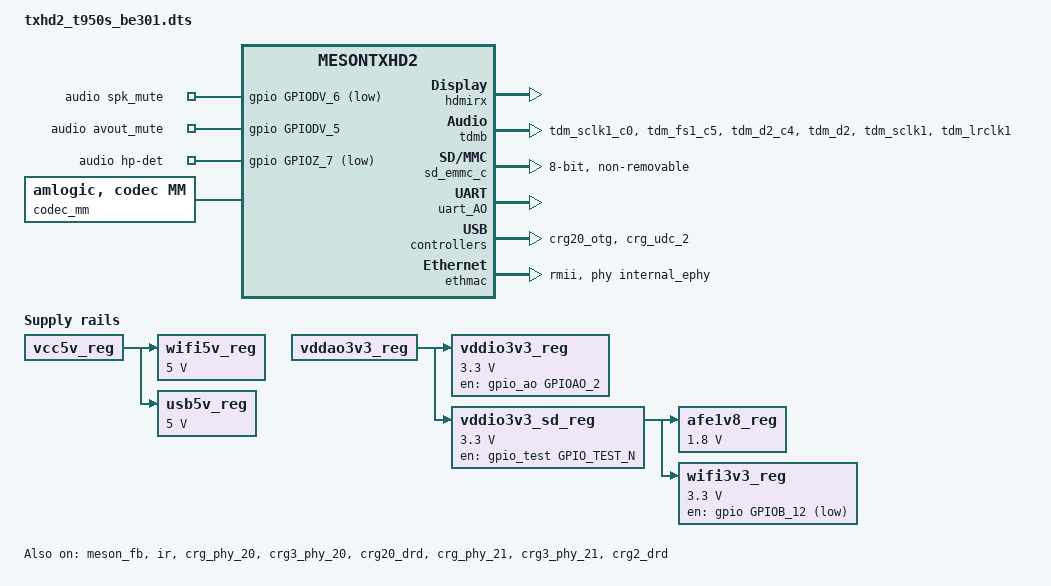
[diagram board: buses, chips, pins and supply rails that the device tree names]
// SPDX-License-Identifier: (GPL-2.0+ OR MIT)
/*
 * Copyright (c) 2019 Amlogic, Inc. All rights reserved.
 */

/dts-v1/;

#include "mesontxhd2.dtsi"
#include "meson_txhd2-panel.dtsi"
#include "partition_mbox_normal_txhd2_P_32.dtsi"
#include "mesontxhd2_audio.dtsi"
/ {
	amlogic-dt-id = "txhd2_t950s_be301";
	compatible = "txhd2_t950s_be301";
	interrupt-parent = <&gic>;
	#address-cells = <1>;
	#size-cells = <1>;

	aliases {
		serial0 = &uart_AO;
		serial1 = &uart_A;
		serial2 = &uart_B;
		serial3 = &uart_C;
		serial4 = &uart_AO_B;
		i2c0 = &i2c0;
		i2c1 = &i2c1;
		i2c2 = &i2c2;
		i2c3 = &i2c3;
		i2c4 = &i2c_AO;
	};

	memory@00000000 {
		device_type = "memory";
		linux,usable-memory = <0x00000000 0x40000000>;
	};
	/* Audio Related start */
	audio: auge_sound {
		compatible = "amlogic, auge-sound-card";
		aml-audio-card,name = "AML-AUGESOUND";
		/*spk mute gpio*/
		spk_mute-gpios = <&gpio GPIODV_6 GPIO_ACTIVE_LOW>;
		/*avout mute gpio*/
		avout_mute-gpios = <&gpio GPIODV_5 GPIO_ACTIVE_HIGH>;
		/* headphone insert det */
		aml-audio-card,hp-det-gpio = <&gpio GPIOZ_7 GPIO_ACTIVE_LOW>;
		interrupts = <GIC_SPI 235 IRQ_TYPE_EDGE_RISING>;
		interrupt-names = "audio_exception64";

		status = "okay";

		aml-audio-card,dai-link@0 {
			format = "dsp_a";
			mclk-fs = <512>;
			//continuous-clock;
			//bitclock-inversion;
			//frame-inversion;
			/* master mode */
			bitclock-master = <&tdma>;
			frame-master = <&tdma>;
			/* slave mode */
			/*
			 * bitclock-master = <&tdmacodec>;
			 * frame-master = <&tdmacodec>;
			 */
			/* suffix-name, sync with android audio hal used for */
			suffix-name = "alsaPORT-pcm";
			tdmacpu: cpu {
				sound-dai = <&tdma>;
				dai-tdm-slot-tx-mask =
							<1 1>;
				dai-tdm-slot-rx-mask =
							<1 1>;
				dai-tdm-slot-num = <2>;
				dai-tdm-slot-width = <16>;
				system-clock-frequency = <256000>;
			};
			tdmacodec: codec {
				sound-dai = <&dummy_codec>;
			};
		};

		aml-audio-card,dai-link@1 {
			format = "i2s";
			mclk-fs = <256>;
			//continuous-clock;
			//bitclock-inversion;
			//frame-inversion;
			/* master mode */
			bitclock-master = <&tdmb>;
			frame-master = <&tdmb>;
			/* slave mode */
			//bitclock-master = <&tdmbcodec>;
			//frame-master = <&tdmbcodec>;
			/* suffix-name, sync with android audio hal
			 * what's the dai link used for
			 */
			suffix-name = "alsaPORT-i2s-i2s4hdmirx";
			cpu {
				sound-dai = <&tdmb>;
				dai-tdm-slot-tx-mask = <1 1>;
				dai-tdm-slot-rx-mask = <1 1>;
				dai-tdm-slot-num = <2>;
				/*
				 * dai-tdm-slot-tx-mask =
				 *	<1 1 1 1 1 1 1 1>;
				 * dai-tdm-slot-rx-mask =
				 *	<1 1 1 1 1 1 1 1>;
				 * dai-tdm-slot-num = <8>;
				 */
				dai-tdm-slot-width = <32>;
				system-clock-frequency = <12288000>;
			};
			tdmbcodec: codec {
				prefix-names = "AMP";
				sound-dai = <&acodec>;
			};
		};

		aml-audio-card,dai-link@2 {
			format = "i2s";
			mclk-fs = <256>;
			//continuous-clock;
			//bitclock-inversion;
			//frame-inversion;
			/* master mode */
			bitclock-master = <&tdmc>;
			frame-master = <&tdmc>;
			/* slave mode */
			//bitclock-master = <&tdmccodec>;
			//frame-master = <&tdmccodec>;
			/* suffix-name, sync with android audio hal used for */
			suffix-name = "alsaPORT-i2s4parser";
			cpu {
				sound-dai = <&tdmc>;
				dai-tdm-slot-tx-mask = <1 1>;
				dai-tdm-slot-rx-mask = <1 1>;
				dai-tdm-slot-num = <2>;
				dai-tdm-slot-width = <32>;
				system-clock-frequency = <12288000>;
			};
			tdmccodec: codec {
				sound-dai = <&dummy_codec>;
			};
		};
		aml-audio-card,dai-link@3 {
			mclk-fs = <64>;
			/* suffix-name, sync with android audio hal
			 * what's the dai link used for
			 */
			suffix-name = "alsaPORT-pdm-builtinmic";
			cpu {
				sound-dai = <&pdma>;
			};
			codec {
				sound-dai = <&dummy_codec>;
			};
		};

		aml-audio-card,dai-link@4 {
			mclk-fs = <128>;
			//continuous-clock;
			/* suffix-name, sync with android audio hal used for */
			suffix-name = "alsaPORT-spdif";
			cpu {
				sound-dai = <&spdifa>;
				system-clock-frequency = <6144000>;
			};
			codec {
				sound-dai = <&dummy_codec>;
			};
		};

		/* spdif_b to hdmi, only playback */
		aml-audio-card,dai-link@5 {
			mclk-fs = <128>;
			//continuous-clock;
			/* suffix-name, sync with android audio hal
			 * what's the dai link used for
			 */
			suffix-name = "alsaPORT-spdifb";
			cpu {
				sound-dai = <&spdifb>;
				system-clock-frequency = <6144000>;
			};
			codec {
				sound-dai = <&dummy_codec>;
			};
		};

		aml-audio-card,dai-link@6 {
			mclk-fs = <256>;
			continuous-clock;
			suffix-name = "alsaPORT-loopback";
			cpu {
				sound-dai = <&loopbacka>;
				system-clock-frequency = <12288000>;
			};
			codec {
				sound-dai = <&dummy_codec>;
			};
		};

		aml-audio-card,dai-link@7 {
			mclk-fs = <256>;
			suffix-name = "alsaPORT-tv";
			cpu {
				sound-dai = <&extn>;
				system-clock-frequency = <12288000>;
			};
			codec {
				sound-dai = <&dummy_codec>;
			};
		};
	};
	reserved-memory {
		#address-cells = <1>;
		#size-cells = <1>;
		ranges;
		secmon_reserved:linux,secmon {
			compatible = "shared-dma-pool";
			no-map;
			alignment = <0x400000>;
			reg = <0x05000000 0x400000>;
		};

		/*  POST PROCESS MANAGER */
		ppmgr_reserved:linux,ppmgr {
			compatible = "shared-dma-pool";
			size = <0x0 0x0>;
		};

		ion_cma_reserved:linux,ion-dev {
			compatible = "shared-dma-pool";
			reusable;
			size = <0x1c00000>;
			alignment = <0x400000>;
			alloc-ranges = <0x0 0x3f000000>;
		};

		ion_fb_reserved:linux,ion-fb {
			compatible = "shared-dma-pool";
			reusable;
			size = <0x0000000>;
			alignment = <0x400000>;
			alloc-ranges = <0x0 0x3f000000>;
		};

		logo_reserved:linux,meson-fb {
			compatible = "amlogic, meson-fb";
			alignment = <0x400000>;
			reg = <0x3f800000 0x800000>;
		};

		codec_mm_cma:linux,codec_mm_cma {
				compatible = "shared-dma-pool";
				reusable;
				size = <0xa800000>;
				alignment = <0x400000>;
				linux,contiguous-region;
				alloc-ranges = <0x0 0x30000000>;
		};

		/* codec shared reserved */
		codec_mm_reserved:linux,codec_mm_reserved {
			compatible = "amlogic, codec-mm-reserved";
			size = <0x0>;
			alignment = <0x100000>;
			//no-map;
		};
	};

	codec_mm {
		compatible = "amlogic, codec, mm";
		memory-region = <&codec_mm_cma &codec_mm_reserved>;
		dev_name = "codec_mm";
		status = "okay";
	};

	wifi5v_reg: fixed@wifi5v_reg{
		vin-supply = <&vcc5v_reg>;
		compatible = "regulator-fixed";
		regulator-name = "WIFI_5V";
		regulator-min-microvolt = <5000000>;
		regulator-max-microvolt = <5000000>;
		regulator-boot-on;
		regulator-always-on;
	};

	usb5v_reg: fixed@usb5v_reg{
		vin-supply = <&vcc5v_reg>;
		compatible = "regulator-fixed";
		regulator-name = "USB_5V";
		regulator-min-microvolt = <5000000>;
		regulator-max-microvolt = <5000000>;
		regulator-boot-on;
		regulator-always-on;
	};

	vddio3v3_reg: fixed@vddio3v3_reg{
		vin-supply = <&vddao3v3_reg>;
		compatible = "regulator-fixed";
		regulator-name = "VDDIO_3V3";
		regulator-min-microvolt = <3300000>;
		regulator-max-microvolt = <3300000>;
		gpio = <&gpio_ao GPIOAO_2 GPIO_ACTIVE_HIGH>;
		enable-active-high;
		regulator-boot-on;
		regulator-always-on;
	};

	vddio3v3_sd_reg: fixed@vddio3v3_sd_reg{
		vin-supply = <&vddao3v3_reg>;
		compatible = "regulator-fixed";
		regulator-name = "VDDIO_3V3_SD";
		regulator-min-microvolt = <3300000>;
		regulator-max-microvolt = <3300000>;
		gpio = <&gpio_test GPIO_TEST_N GPIO_ACTIVE_HIGH>;
		enable-active-high;
		regulator-boot-on;
		regulator-always-on;
	};

	afe1v8_reg: fixed@afe1v8_reg{
		vin-supply = <&vddio3v3_sd_reg>;
		compatible = "regulator-fixed";
		regulator-name = "AFE_1V8";
		regulator-min-microvolt = <1800000>;
		regulator-max-microvolt = <1800000>;
		regulator-boot-on;
		regulator-always-on;
	};

	wifi3v3_reg: fixed@wifi3v3_reg{
		vin-supply = <&vddio3v3_sd_reg>;
		compatible = "regulator-fixed";
		regulator-name = "WIFI_3V3";
		regulator-min-microvolt = <3300000>;
		regulator-max-microvolt = <3300000>;
		gpio = <&gpio GPIOB_12 GPIO_ACTIVE_LOW>;
		enable-active-low;
		regulator-boot-on;
		regulator-always-on;
	};

	hdmirx {
		compatible = "amlogic, hdmirx_txhd2";
		#address-cells=<1>;
		#size-cells=<1>;
		/*memory-region = <&hdmirx_emp_cma_reserved>;*/
		status = "okay";
		pinctrl-names = "hdmirx_pins";
		pinctrl-0 = <&hdmirx_a_mux &hdmirx_b_mux>;
		repeat = <0>;
		/*power-domains = <&pwrdm PDIP_TXHD2_VPU_HDMI>;*/
		interrupts = <0 41 IRQ_TYPE_LEVEL_HIGH>;
		clocks =<&clkc CLKID_HDMIRX_CFG>,
			   <&clkc CLKID_HDMIRX_ACR>,
			   <&clkc CLKID_HDMIRX_METER>,
			   <&clkc CLKID_HDMIRX_2M>,
			   <&clkc CLKID_HDMIRX_5M>,
			   <&clkc CLKID_HDMIRX_HDCP>,
			   <&xtal>,
			   <&clkc CLKID_FCLK_DIV4>,
			   <&clkc CLKID_FCLK_DIV5>;
		clock-names = "hdmirx_cfg_clk",
				"cts_hdmirx_acr_ref_clk",
				"cts_hdmirx_meter_clk",
				"cts_hdmirx_2m_clk",
				"cts_hdmirx_5m_clk",
				"cts_hdmirx_hdcp2x_eclk",
				"xtal",
				"fclk_div4",
				"fclk_div5";
		power-domains = <&pwrdm 2>;
		hdmirx_id = <0>;
		en_4k_2_2k = <0>;
		hpd_low_cec_off = <1>;
		arc_port = <1>;
		vrr_range_dynamic_update_en = <1>;
		/* bit4: enable feature, bit3~0: port number */
		disable_port = <0x0>;
		/* MAP_ADDR_MODULE_CBUS */
		/* MAP_ADDR_MODULE_HIU */
		/* MAP_ADDR_MODULE_HDMIRX_CAPB3 */
		/* MAP_ADDR_MODULE_SEC_AHB */
		/* MAP_ADDR_MODULE_SEC_AHB2 */
		/* MAP_ADDR_MODULE_APB4 */
		/* MAP_ADDR_MODULE_TOP */
		/* MAP_ADDR_MODULE_COR */
		/* MAP_ADDR_MODULE_CLK_CTRL */
		/* MAP_ADDR_MODULE_ANA_CTRL */
		reg = < 0x0 0x0
			0xff63C000 0x2000
			0x0 0x0
			0x0 0x0
			0x0 0x0
			0x0 0x0
			0xff618000 0x7fff
			0xff680000 0xffff
			0xff646000 0x1fff
			0x0 0x0>;
	};

	unifykey{
		compatible = "amlogic,unifykey";
		status = "okay";
		unifykey-num = <19>;
		unifykey-index-0 = <&keysn_0>;
		unifykey-index-1 = <&keysn_1>;
		unifykey-index-2 = <&keysn_2>;
		unifykey-index-3 = <&keysn_3>;
		unifykey-index-4 = <&keysn_4>;
		unifykey-index-5 = <&keysn_5>;
		unifykey-index-6 = <&keysn_6>;
		unifykey-index-7 = <&keysn_7>;
		unifykey-index-8 = <&keysn_8>;
		unifykey-index-9 = <&keysn_9>;
		unifykey-index-10= <&keysn_10>;
		unifykey-index-11= <&keysn_11>;
		unifykey-index-12= <&keysn_12>;
		unifykey-index-13= <&keysn_13>;
		unifykey-index-14= <&keysn_14>;
		unifykey-index-15= <&keysn_15>;
		unifykey-index-16= <&keysn_16>;
		unifykey-index-17= <&keysn_17>;
		unifykey-index-18= <&keysn_18>;

		keysn_0: key_0{
			key-name = "usid";
			key-device = "normal";
			key-permit = "read","write","del";
		};
		keysn_1:key_1{
			key-name = "mac";
			key-device = "normal";
			key-permit = "read","write","del";
		};
		keysn_2:key_2{
			key-name = "hdcp";
			key-device = "secure";
			key-type = "sha1";
			key-permit = "read","write","del";
		};
		keysn_3:key_3{
			key-name = "secure_boot_set";
			key-device = "efuse";
			key-permit = "write";
		};
		keysn_4:key_4{
			key-name = "mac_bt";
			key-device = "normal";
			key-permit = "read","write","del";
			key-type  = "mac";
		};
		keysn_5:key_5{
			key-name = "mac_wifi";
			key-device = "normal";
			key-permit = "read","write","del";
			key-type = "mac";
		};
		keysn_6:key_6{
			key-name = "hdcp2_tx";
			key-device = "normal";
			key-permit = "read","write","del";
		};
		keysn_7:key_7{
			key-name = "hdcp2_rx";
			key-device = "normal";
			key-permit = "read","write","del";
		};
		keysn_8:key_8{
			key-name = "widevinekeybox";
			key-device = "secure";
			key-permit = "read","write","del";
		};
		keysn_9:key_9{
			key-name = "deviceid";
			key-device = "normal";
			key-permit = "read","write","del";
		};
		keysn_10:key_10{
			key-name = "hdcp22_fw_private";
			key-device = "secure";
			key-permit = "read","write","del";
		};
		keysn_11:key_11{
			key-name = "PlayReadykeybox25";
			key-device = "secure";
			key-permit = "read","write","del";
		};
		keysn_12:key_12{
			key-name = "prpubkeybox";// PlayReady
			key-device = "secure";
			key-permit = "read","write","del";
		};
		keysn_13:key_13{
			key-name = "prprivkeybox";// PlayReady
			key-device = "secure";
			key-permit = "read","write","del";
		};
		keysn_14:key_14{
			key-name = "attestationkeybox";// attestation key
			key-device = "secure";
			key-permit = "read","write","del";
		};
		keysn_15:key_15{
			key-name = "region_code";
			key-device = "normal";
			key-permit = "read","write","del";
		};
		keysn_16:key_16{
			key-name = "netflix_mgkid";
			key-device = "secure";
			key-permit = "read","write","del";
		};
		keysn_17:key_17{
			key-name = "attestationdevidbox";// attest dev id box
			key-device = "secure";
			key-permit = "read","write","del";
		};
		keysn_18:key_18{
			key-name = "oemkey";
			key-device = "normal";
			key-permit = "read","write","del";
		};
	};//End unifykey

	ppmgr {
		compatible = "amlogic, ppmgr";
		memory-region = <&ppmgr_reserved>;
		dev_name = "ppmgr";
		status = "okay";
	};

	ionvideo {
		compatible = "amlogic, ionvideo";
		dev_name = "ionvideo";
		status = "okay";
	};

	amlvideo2_0 {
		compatible = "amlogic, amlvideo2";
		dev_name = "amlvideo2";
		status = "okay";
		amlvideo2_id = <0>;
		cma_mode = <1>;
	};

	amlvideo2_1 {
		compatible = "amlogic, amlvideo2";
		dev_name = "amlvideo2";
		status = "okay";
		amlvideo2_id = <1>;
		cma_mode = <1>;
	};
}; /* end of / */

&tdmb {
	pinctrl-names = "tdm_pins","tdmout_a_gpio";
	pinctrl-0 =
			<&mclk_1_pins
			&tdm_b_pins
			&tdm_d2_pins
			&tdmb_clk_pins>;
	pinctrl-1 = <&tdmout_a_gpio>;

};

&pdma {
	pinctrl-names = "pdm_pins";
	pinctrl-0 = <&pdmin>;
};

&spdifa {
	pinctrl-names = "spdif_pins",
			"spdif_pins_mute";
	pinctrl-0 = <&spdif_out_a_dv3_pins>;
	pinctrl-1 = <&spdifout_a_mute_dv3_pins>;
};

&aed {
	status = "disabled";
};

&pinctrl_periphs {
	tdm_b_pins: tdm_b_pin {
		mux { /* GPIOC_0, GPIOC_5, GPIOC_4 */
			groups = "tdm_sclk1_c0",
				"tdm_fs1_c5",
				"tdm_d2_c4";
			function = "tdm";
		};
	};
	tdmout_a_gpio: tdmout_a_gpio {
		mux { /* GPIOC_0, GPIOC_5,  GPIOC_4*/
			groups ="GPIOC_0",
				"GPIOC_5",
				"GPIOC_4";
			function = "gpio_periphs";
			output-low;
		};
	};
};

&pinctrl_aobus {
	pdmin: pdmin {
		mux { /* GPIOAO_12, GPIOAO_13*/
			groups = "pdm_din0_ao12",
					"pdm_dclk_ao13";
			function = "pdm_ao";
		};
	};
};

&pinctrl_audio {
	tdm_d2_pins: tdm_d2_pin {
		mux {
			groups = "tdm_d2";
			function = "tdmoutb_lane0";
		};
	};
	tdmb_clk_pins: tdmb_clk_pin {
		mux {
			groups = "tdm_sclk1", "tdm_lrclk1";
			function = "tdm_clk_outb";
		};
	};
};

&sd_emmc_c {
	status = "okay";
	pinctrl-0 = <&emmc_pins>, <&emmc_ds_pins>;
	pinctrl-1 = <&emmc_clk_gate_pins>;
	pinctrl-names = "default", "clk-gate";

	bus-width = <8>;
	cap-sd-highspeed;
	cap-mmc-highspeed;
	mmc-ddr-1_8v;
	mmc-hs200-1_8v;
//  mmc-hs400-1_8v;
	max-frequency = <200000000>;
	non-removable;
	disable-wp;

//  mmc-pwrseq = <&emmc_pwrseq>;
//  vmmc-supply = <&vddao_3v3>;
//  vqmmc-supply = <&vddao_1v8>;
};

&meson_fb {
	status = "okay";
	display_size_default = <1920 1080 1920 2160 32>;
	mem_size = <0x00800000 0x1980000 0x100000>;
	logo_addr = "0x3f800000";
	mem_alloc = <0>;
	pxp_mode = <0>; /** 0:normal mode 1:pxp mode */
};

&uart_AO {
	status = "okay";
};

&ir {
	status = "okay";
	pinctrl-0 = <&remote_pins>;
	pinctrl-names = "default";
};

&crg_phy_20 {
	status = "okay";
	portnum = <1>;
};

&crg3_phy_20 {
	status = "okay";
	portnum = <0>;
};

&crg20_otg {
	status = "okay";
	controller-type = <1>;
};

&crg20_drd {
	compatible = "amlogic, crg-drd";
	status = "okay";
};

&crg_udc_2 {
	status = "okay";
};

&crg_phy_21 {
	status = "okay";
	portnum = <2>;
	gpio-vbus-power = "GPIODV_7";
	gpios = <&gpio GPIODV_7 GPIO_ACTIVE_HIGH>;
};

&crg3_phy_21 {
	status = "okay";
	portnum = <0>;
};

&crg2_drd {
	compatible = "amlogic, crg-host-drd";
	status = "okay";
};

&ethmac {
	status = "okay";
	phy-handle = <&internal_ephy>;
	phy-mode = "rmii";
};
